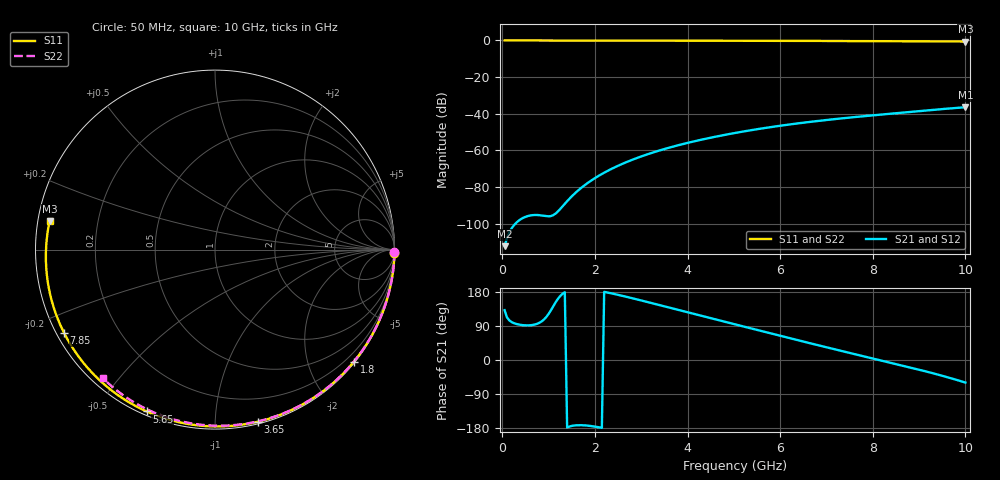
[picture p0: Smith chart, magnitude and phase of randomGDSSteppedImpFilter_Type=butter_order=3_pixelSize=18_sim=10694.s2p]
! freq	dB(S11)	phase(S11)	dB(S12)	phase(S12)
!  dB(S21)	phase(S21)	dB(S22)	phase(S22)
!S-par simulation data
#  GHz  S  DB  R 50
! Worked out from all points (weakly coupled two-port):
!   200 points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, 50 MHz to 10 GHz, reference 50 ohm
!   highest |S21| = -36.42 dB at 10 GHz (marker M1); lowest = -112.2 dB at 50 MHz (marker M2)
!   lowest |S11| = -0.6 dB at 10 GHz (marker M3), VSWR 29.79, Z = 1.69 + j4.3 ohm
!   |S11| at or under -10 dB: nowhere
!   |S22| runs from -0.4 to 0.0 dB; largest |S21 - S12| = 0
!   S11 on the Smith chart (normalised r, x): 50 MHz: open; 1.8 GHz: 0.03, -2.84; 3.65 GHz: 0.02, -1.28; 5.65 GHz: 0.02, -0.66; 7.85 GHz: 0.02, -0.26; 10 GHz: 0.03, +0.09
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0.05  -0.00 -1.1  -112.17 131.5  -112.17 131.5  -0.00 -0.8
0.45  -0.01 -9.9  -96.75 91.9  -96.75 91.9  -0.00 -6.8
0.85  -0.02 -18.6  -95.45 101.9  -95.45 101.9  -0.01 -12.8
1.25  -0.03 -27.2  -91.92 168.7  -91.92 168.7  -0.02 -18.8
1.7  -0.05 -36.7  -80.47 -172.0  -80.47 -172.0  -0.03 -25.5
1.75  -0.05 -37.8  -79.47 -172.3  -79.47 -172.3  -0.03 -26.2
1.8  -0.05 -38.8  -78.51 -172.7  -78.51 -172.7  -0.03 -26.9
2.1  -0.06 -45.1  -73.53 -177.9  -73.53 -177.9  -0.04 -31.3
2.5  -0.07 -53.3  -68.32 171.9  -68.32 171.9  -0.05 -37.1
2.9  -0.08 -61.4  -64.16 160.2  -64.16 160.2  -0.06 -42.8
3.4  -0.09 -71.3  -59.94 144.8  -59.94 144.8  -0.07 -49.9
3.65  -0.10 -76.1  -58.13 136.9  -58.13 136.9  -0.07 -53.4
4.35  -0.13 -89.4  -53.83 115.1  -53.83 115.1  -0.09 -62.9
5.05  -0.16 -102.2  -50.33 93.3  -50.33 93.3  -0.11 -72.2
5.65  -0.19 -112.9  -47.81 74.8  -47.81 74.8  -0.13 -79.9
6.15  -0.22 -121.7  -45.98 59.4  -45.98 59.4  -0.15 -86.3
6.7  -0.25 -131.2  -44.23 42.6  -44.23 42.6  -0.18 -93.1
7.3  -0.30 -141.6  -42.56 24.6  -42.56 24.6  -0.21 -100.3
7.85  -0.35 -151.1  -41.19 8.5  -41.19 8.5  -0.25 -106.8
8.35  -0.40 -159.8  -40.02 -6.1  -40.02 -6.1  -0.29 -112.7
9.2  -0.49 -174.9  -38.08 -31.8  -38.08 -31.8  -0.36 -122.4
10  -0.58 170.1  -36.42 -59.6  -36.42 -59.6  -0.45 -131.3
